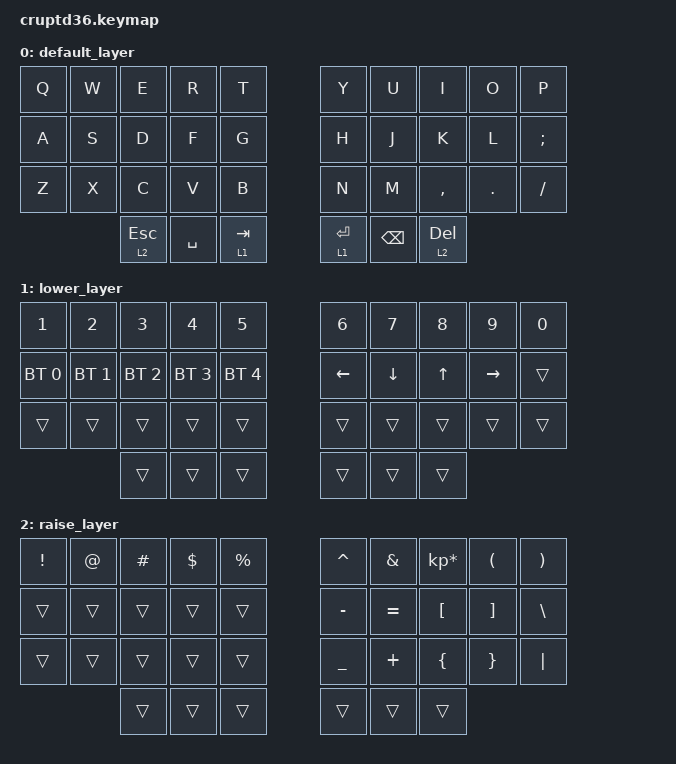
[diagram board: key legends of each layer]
#include <behaviors.dtsi>
#include <dt-bindings/zmk/keys.h>
#include <dt-bindings/zmk/bt.h>

/ {
    behaviors {
        hm: homerow_mods {
            compatible = "zmk,behavior-hold-tap";
            label = "HOMEROW_MODS";
            #binding-cells = <2>;
            tapping-term-ms = <200>;
            quick-tap-ms = <0>;
            flavor = "tap-preferred";
            bindings = <&kp>, <&kp>;
        };
    };

    keymap {
        compatible = "zmk,keymap";

        default_layer {
            // -----------------------------------------------------------------------------------------
            // | Q   | W   | E   | R   | T   |   | Y   | U   | I   | O   | P   |
            // | A   | S   | D   | F   | G   |   | H   | J   | K   | L   | ;   |
            // | Z   | X   | C   | V   | B   |   | N   | M   | ,   | .   | /   |
            //             | ESC | SPC | TAB | | ENT | BSPC| DEL |
            bindings = <
                &kp Q &kp W &kp E &kp R &kp T   &kp Y &kp U  &kp I     &kp O   &kp P
                &kp A &kp S &kp D &kp F &kp G   &kp H &kp J  &kp K     &kp L   &kp SEMI
                &kp Z &kp X &kp C &kp V &kp B   &kp N &kp M  &kp COMMA &kp DOT &kp FSLH
                      &lt 2 ESC &kp SPACE &lt 1 TAB   &lt 1 RET &kp BSPC &lt 2 DEL
            >;
        };

        lower_layer {
            // -----------------------------------------------------------------------------------------
            // | 1   | 2   | 3   | 4   | 5   |   | 6   | 7   | 8   | 9   | 0   |
            // | BT1 | BT2 | BT3 | BT4 | BT5 |   | LFT | DWN | UP  | RGT |     |
            // |     |     |     |     |     |   |     |     |     |     |     |
            //             |     |     |     |   |     |     |     |
            bindings = <
                &kp N1       &kp N2       &kp N3       &kp N4       &kp N5         &kp N6   &kp N7   &kp N8 &kp N9    &kp N0
                &bt BT_SEL 0 &bt BT_SEL 1 &bt BT_SEL 2 &bt BT_SEL 3 &bt BT_SEL 4   &kp LEFT &kp DOWN &kp UP &kp RIGHT &trans
                &trans       &trans       &trans       &trans       &trans         &trans   &trans   &trans &trans    &trans
                                          &trans       &trans       &trans         &trans   &trans   &trans
            >;
        };

        raise_layer {
            // -----------------------------------------------------------------------------------------
            // | !   | @   | #   | $   | %   |   | ^   | &   | *   | (   | )   |
            // |     |     |     |     |     |   | -   | =   | [   | ]   | \   |
            // |     |     |     |     |     |   | _   | +   | {   | }   | |   |
            //             |     |     |     |   |     |     |     |
            bindings = <
                &kp EXCL &kp AT &kp HASH &kp DLLR &kp PRCNT   &kp CARET &kp AMPS  &kp KP_MULTIPLY &kp LPAR &kp RPAR
                &trans   &trans &trans   &trans   &trans      &kp MINUS &kp EQUAL &kp LBKT        &kp RBKT &kp BSLH
                &trans   &trans &trans   &trans   &trans      &kp UNDER &kp PLUS  &kp LBRC        &kp RBRC &kp PIPE
                                &trans   &trans   &trans      &trans    &trans    &trans
            >;
        };
    };
};
